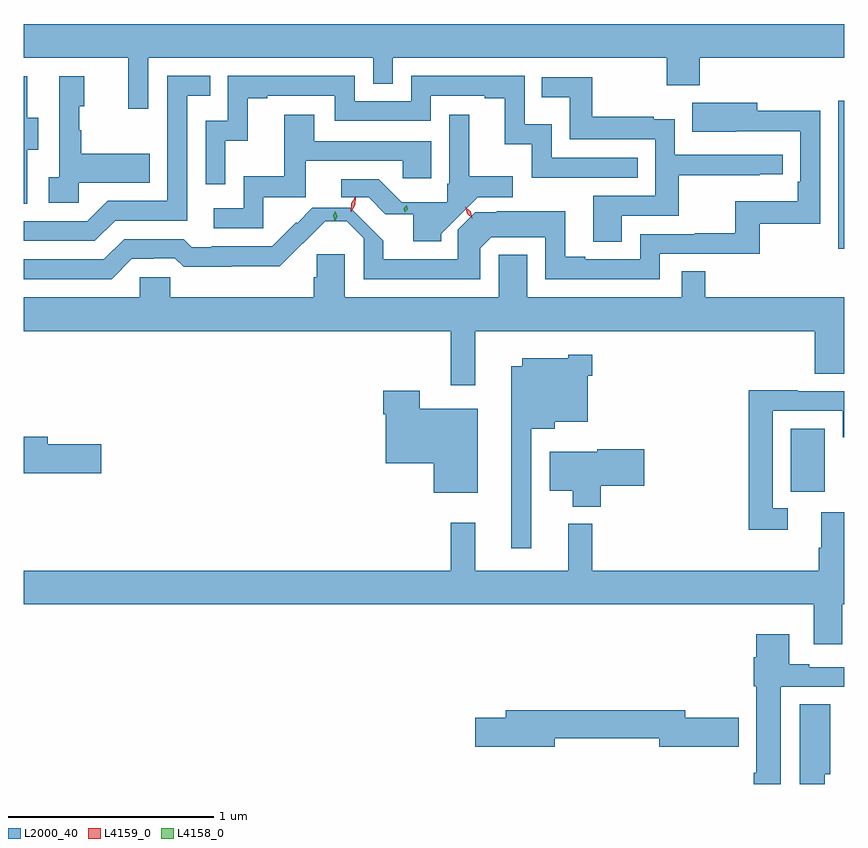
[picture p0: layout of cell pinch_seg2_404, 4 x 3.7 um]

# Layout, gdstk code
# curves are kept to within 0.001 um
import gdstk
lib = gdstk.Library(unit=1e-6, precision=1e-09)
def R(c, l, rs):  # rectangles x0, y0, x1, y1
    for r in rs: c.add(gdstk.rectangle(r[:2], r[2:], *l))
def P(c, l, *ps):  # polygons
    for p in ps: c.add(gdstk.Polygon(p, *l))
L2000_40 = (2000, 40)
L4158_0 = (4158, 0)
L4159_0 = (4159, 0)

pinch_seg2_404 = lib.new_cell('pinch_seg2_404')
R(pinch_seg2_404, L2000_40, [(1000.706,606.894,1000.87,607.201), (1000.937,608.076,1000.967,608.797)])
P(pinch_seg2_404, L2000_40, [(997.575,609.008),(998.67,609.008),(998.67,608.881),(998.766,608.881),(998.766,609.008),(1000.102,609.008),(1000.102,608.873),(1000.262,608.873),(1000.262,609.008),(1000.967,609.008),(1000.967,609.172),(996.967,609.172),(996.967,609.008),(997.478,609.008),(997.478,608.76),(997.575,608.76)],
  [(997.414,608.214),(997.764,608.214),(997.764,608.823),(997.877,608.823),(997.877,608.919),(997.668,608.919),(997.668,608.31),(997.377,608.31),(997.278,608.211),(996.967,608.211),(996.967,608.115),(997.315,608.115)],
  [(997.95,608.603),(998.06,608.603),(998.06,608.811),(998.155,608.811),(998.155,608.823),(998.484,608.823),(998.484,608.7),(998.952,608.7),(998.952,608.823),(999.215,608.823),(999.215,608.811),(999.311,608.811),(999.311,608.585),(999.444,608.585),(999.444,608.423),(999.647,608.423),(999.647,608.424),(999.959,608.424),(999.959,608.52),(999.54,608.52),(999.54,608.683),(999.408,608.683),(999.408,608.919),(998.856,608.919),(998.856,608.796),(998.58,608.796),(998.58,608.919),(997.962,608.919),(997.962,608.7),(997.854,608.7),(997.854,608.391),(997.95,608.391)],
  [(997.236,608.399),(997.583,608.399),(997.583,608.539),(997.249,608.539),(997.249,608.654),(997.239,608.654),(997.239,608.772),(997.264,608.772),(997.264,608.917),(997.14,608.917),(997.14,608.426),(997.089,608.426),(997.089,608.301),(997.236,608.301)],
  [(996.984,608.56),(997.039,608.56),(997.039,608.715),(996.985,608.715),(996.985,608.917),(996.967,608.917),(996.967,608.296),(996.984,608.296)],
  [(999.883,608.238),(1000.16,608.238),(1000.16,608.434),(1000.553,608.434),(1000.553,608.439),(1000.666,608.439),(1000.666,608.535),(1000.14,608.535),(1000.14,608.707),(1000.037,608.707),(1000.037,608.719),(999.739,608.719),(999.739,608.913),(999.493,608.913),(999.493,608.816),(999.628,608.816),(999.628,608.61),(1000.044,608.61),(1000.044,608.334),(999.743,608.334),(999.743,608.11),(999.883,608.11)],
  [(997.495,608.028),(997.602,608.028),(997.602,608.031),(997.705,608.031),(997.747,607.989),(997.98,607.989),(997.98,607.991),(998.216,607.991),(998.437,608.212),(998.542,608.212),(998.625,608.129),(998.625,607.929),(999.193,607.929),(999.193,608.08),(999.245,608.132),(999.51,608.132),(999.51,607.929),(1000.068,607.929),(1000.068,608.052),(1000.555,608.052),(1000.555,608.199),(1000.848,608.199),(1000.848,608.75),(1000.543,608.75),(1000.543,608.788),(1000.225,608.788),(1000.225,608.648),(1000.752,608.649),(1000.752,608.404),(1000.739,608.404),(1000.739,608.308),(1000.434,608.308),(1000.434,608.153),(1000.237,608.153),(1000.237,608.148),(999.972,608.148),(999.972,608.025),(999.703,608.025),(999.703,608.038),(999.607,608.038),(999.607,608.26),(999.273,608.26),(999.273,608.254),(999.167,608.254),(999.083,608.17),(999.083,608.025),(998.72,608.025),(998.72,608.117),(998.559,608.277),(998.375,608.277),(998.3,608.202),(998.296,608.206),(998.178,608.088),(997.885,608.088),(997.885,608.085),(997.786,608.085),(997.747,608.124),(997.458,608.124),(997.359,608.025),(996.967,608.025),(996.967,607.929),(997.396,607.929)],
  [(999.002,608.149),(999.18,608.327),(999.351,608.327),(999.351,608.43),(999.139,608.43),(999.139,608.731),(999.042,608.731),(999.042,608.394),(999.031,608.394),(999.031,608.303),(998.811,608.303),(998.698,608.415),(998.514,608.415),(998.514,608.327),(998.648,608.327),(998.73,608.244),(998.867,608.244),(998.867,608.114),(999.002,608.114)],
  [(998.136,608.327),(998.341,608.327),(998.341,608.505),(998.815,608.505),(998.815,608.42),(998.953,608.42),(998.953,608.601),(998.383,608.601),(998.383,608.731),(998.237,608.731),(998.237,608.43),(998.04,608.43),(998.04,608.274),(997.893,608.274),(997.893,608.178),(998.136,608.178)],
  [(999.168,607.676),(1000.823,607.676),(1000.823,607.468),(1000.967,607.468),(1000.967,607.84),(1000.289,607.84),(1000.289,607.967),(1000.173,607.967),(1000.173,607.84),(999.421,607.84),(999.421,608.047),(999.282,608.047),(999.282,607.84),(998.533,607.84),(998.533,608.049),(998.395,608.049),(998.395,607.938),(998.381,607.938),(998.381,607.84),(997.683,607.84),(997.683,607.938),(997.533,607.938),(997.533,607.84),(996.967,607.84),(996.967,607.676),(999.049,607.676),(999.049,607.413),(999.168,607.413)],
  [(999.441,607.199),(999.556,607.199),(999.556,607.235),(999.715,607.235),(999.715,607.457),(999.737,607.457),(999.737,607.561),(999.621,607.561),(999.621,607.543),(999.398,607.543),(999.398,607.504),(999.344,607.504),(999.344,606.618),(999.441,606.618)],
  [(1000.69,606.813),(1000.617,606.813),(1000.617,607.287),(1000.959,607.287),(1000.959,607.158),(1000.967,607.158),(1000.967,607.383),(1000.739,607.383),(1000.739,607.388),(1000.501,607.388),(1000.501,606.708),(1000.69,606.708)],
  [(999.181,607.297),(998.898,607.297),(998.898,607.384),(998.72,607.384),(998.72,607.271),(998.732,607.271),(998.732,607.031),(998.966,607.031),(998.966,606.887),(999.181,606.887)],
  [(997.345,607.124),(997.084,607.124),(997.084,607.16),(996.967,607.16),(996.967,606.982),(997.345,606.982)],
  [(999.779,606.922),(999.991,606.922),(999.991,607.1),(999.762,607.1),(999.762,607.087),(999.53,607.087),(999.53,606.899),(999.644,606.899),(999.644,606.821),(999.779,606.821)],
  [(1000.957,606.344),(1000.967,606.344),(1000.967,606.794),(1000.853,606.794),(1000.853,606.62),(1000.841,606.62),(1000.841,606.508),(999.737,606.508),(999.737,606.736),(999.62,606.736),(999.62,606.508),(999.167,606.508),(999.167,606.742),(999.049,606.742),(999.049,606.508),(996.967,606.508),(996.967,606.344),(1000.817,606.344),(1000.817,606.15),(1000.957,606.15)],
  [(1000.657,605.943),(1000.967,605.943),(1000.967,606.039),(1000.795,606.039),(1000.795,606.052),(1000.699,606.052),(1000.699,606.199),(1000.538,606.199),(1000.538,606.086),(1000.526,606.086),(1000.526,605.946),(1000.538,605.946),(1000.538,605.524),(1000.526,605.524),(1000.526,605.469),(1000.657,605.469)],
  [(1000.87,605.517),(1000.897,605.517),(1000.897,605.858),(1000.748,605.858),(1000.748,605.469),(1000.87,605.469)],
  [(999.556,605.692),(1000.064,605.692),(1000.064,605.65),(1000.453,605.65),(1000.453,605.792),(1000.192,605.792),(1000.192,605.828),(999.317,605.828),(999.317,605.792),(999.168,605.792),(999.168,605.65),(999.556,605.65)])
P(pinch_seg2_404, L4158_0, [(998.824,608.255),(998.824,608.255),(998.819,608.274),(998.833,608.287),(998.833,608.288),(998.834,608.287),(998.838,608.269),(998.824,608.255)],
  [(998.484,608.213),(998.484,608.213),(998.476,608.237),(998.487,608.259),(998.487,608.259),(998.487,608.259),(998.496,608.236),(998.485,608.213)])
P(pinch_seg2_404, L4159_0, [(999.154,608.225),(999.154,608.225),(999.128,608.248),(999.12,608.281),(999.12,608.282),(999.12,608.282),(999.146,608.258),(999.154,608.225)],
  [(998.562,608.258),(998.565,608.298),(998.586,608.333),(998.586,608.333),(998.586,608.332),(998.584,608.292),(998.563,608.258),(998.563,608.258)])

lib.write_gds('pinch_seg2_404.gds')
